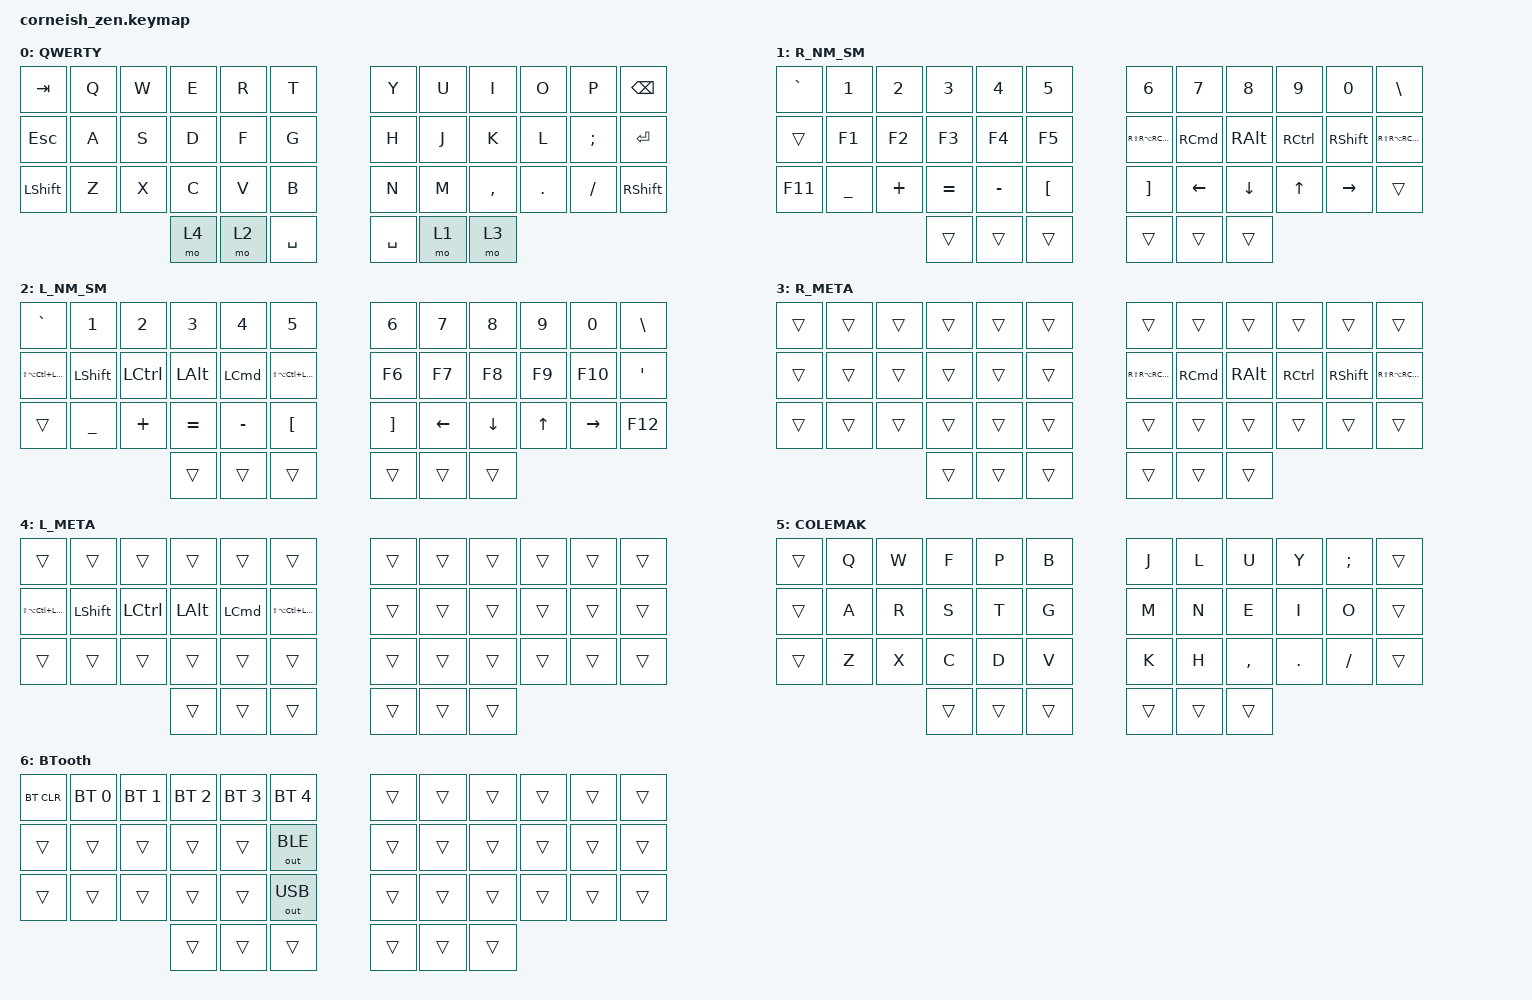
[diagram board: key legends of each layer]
/*
*
* Copyright (c) 2021 Darryl deHaan
* SPDX-License-Identifier: MIT
*
*/

#include <behaviors.dtsi>
#include <dt-bindings/zmk/bt.h>
#include <dt-bindings/zmk/keys.h>
#include <dt-bindings/zmk/outputs.h>

/ {
    chosen {
        zmk,matrix_transform = &default_transform;

        // zmk,matrix_transform = &five_column_transform;
    };
};

/ {
    combos {
        compatible = "zmk,combos";

        shifts_qwerty {
            bindings = <&to 0>;
            key-positions = <36 38>;
        };

        thumbs_colemac {
            bindings = <&to 5>;
            key-positions = <41 39>;
        };

        sh_sp_bluetooth {
            bindings = <&mo 6>;
            key-positions = <37 36>;
        };
    };

    keymap {
        compatible = "zmk,keymap";

        default_layer {
            label = "QWERTY";
            bindings = <
&kp TAB     &kp Q  &kp W  &kp E  &kp R  &kp T        &kp Y      &kp U  &kp I      &kp O    &kp P     &kp BSPC
&kp ESCAPE  &kp A  &kp S  &kp D  &kp F  &kp G        &kp H      &kp J  &kp K      &kp L    &kp SEMI  &kp RETURN
&kp LSHIFT  &kp Z  &kp X  &kp C  &kp V  &kp B        &kp N      &kp M  &kp COMMA  &kp DOT  &kp FSLH  &kp RSHIFT
                          &mo 4  &mo 2  &kp SPACE    &kp SPACE  &mo 1  &mo 3
            >;
        };

        r_num_sym_layer {
            label = "R_NM_SM";
            bindings = <
&kp GRAVE  &kp N1     &kp N2    &kp N3     &kp N4     &kp N5      &kp N6                &kp N7    &kp N8    &kp N9     &kp N0     &kp BSLH
&trans     &kp F1     &kp F2    &kp F3     &kp F4     &kp F5      &kp RS(RA(RC(RGUI)))  &kp RCMD  &kp RALT  &kp RCTRL  &kp RSHFT  &kp RS(RA(RC(RGUI)))
&kp F11    &kp UNDER  &kp PLUS  &kp EQUAL  &kp MINUS  &kp LBKT    &kp RBKT              &kp LEFT  &kp DOWN  &kp UP     &kp RIGHT  &trans
                                &trans     &trans     &trans      &trans                &trans    &trans
            >;
        };

        l_num_sym_layer {
            label = "L_NM_SM";
            bindings = <
&kp GRAVE             &kp N1     &kp N2     &kp N3     &kp N4     &kp N5                  &kp N6    &kp N7    &kp N8    &kp N9  &kp N0     &kp BSLH
&kp LS(LA(LC(LGUI)))  &kp LSHFT  &kp LCTRL  &kp LALT   &kp LCMD   &kp LS(LA(LC(LGUI)))    &kp F6    &kp F7    &kp F8    &kp F9  &kp F10    &kp SQT
&trans                &kp UNDER  &kp PLUS   &kp EQUAL  &kp MINUS  &kp LBKT                &kp RBKT  &kp LEFT  &kp DOWN  &kp UP  &kp RIGHT  &kp F12
                                            &trans     &trans     &trans                  &trans    &trans    &trans
            >;
        };

        r_meta {
            label = "R_META";
            bindings = <
&trans  &trans  &trans  &trans  &trans  &trans    &trans                &trans    &trans    &trans     &trans     &trans
&trans  &trans  &trans  &trans  &trans  &trans    &kp RS(RA(RC(RGUI)))  &kp RCMD  &kp RALT  &kp RCTRL  &kp RSHFT  &kp RS(RA(RC(RGUI)))
&trans  &trans  &trans  &trans  &trans  &trans    &trans                &trans    &trans    &trans     &trans     &trans
                        &trans  &trans  &trans    &trans                &trans    &trans
            >;
        };

        l_meta {
            label = "L_META";
            bindings = <
&trans                &trans     &trans     &trans    &trans    &trans                  &trans  &trans  &trans  &trans  &trans  &trans
&kp LS(LA(LC(LGUI)))  &kp LSHFT  &kp LCTRL  &kp LALT  &kp LCMD  &kp LS(LA(LC(LGUI)))    &trans  &trans  &trans  &trans  &trans  &trans
&trans                &trans     &trans     &trans    &trans    &trans                  &trans  &trans  &trans  &trans  &trans  &trans
                                            &trans    &trans    &trans                  &trans  &trans  &trans
            >;
        };

        colemak_layer {
            label = "COLEMAK";
            bindings = <
&trans  &kp Q  &kp W  &kp F   &kp P   &kp B     &kp J   &kp L   &kp U      &kp Y    &kp SEMI  &trans
&trans  &kp A  &kp R  &kp S   &kp T   &kp G     &kp M   &kp N   &kp E      &kp I    &kp O     &trans
&trans  &kp Z  &kp X  &kp C   &kp D   &kp V     &kp K   &kp H   &kp COMMA  &kp DOT  &kp FSLH  &trans
                      &trans  &trans  &trans    &trans  &trans  &trans
            >;
        };

        bluetooth_layer {
            label = "BTooth";
            bindings = <
&bt BT_CLR  &bt BT_SEL 0  &bt BT_SEL 1  &bt BT_SEL 2  &bt BT_SEL 3  &bt BT_SEL 4    &trans  &trans  &trans  &trans  &trans  &trans
&trans      &trans        &trans        &trans        &trans        &out OUT_BLE    &trans  &trans  &trans  &trans  &trans  &trans
&trans      &trans        &trans        &trans        &trans        &out OUT_USB    &trans  &trans  &trans  &trans  &trans  &trans
                                        &trans        &trans        &trans          &trans  &trans  &trans
            >;
        };
    };
};
